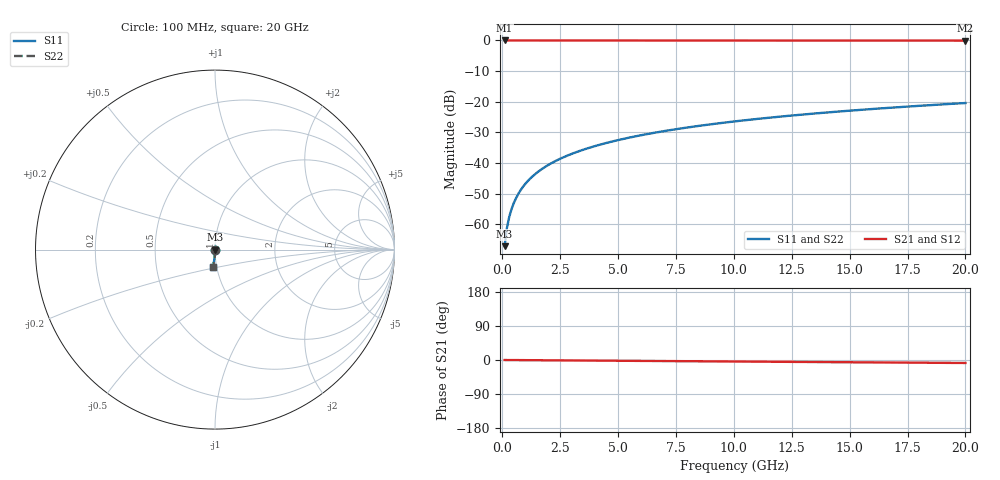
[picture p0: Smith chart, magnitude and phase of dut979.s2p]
! Touchstone file exported from HFSS 2026.1.0
!  File:  C:/ffzhzh/LocalFiles/Ansys_Project_Files/temp_train_TSV_979_1783187977_18472.aedt
!  Generated:  02:00:52 AM Jul  5, 2026
!  Design:  TSV
!  Project:  temp_train_TSV_979_1783187977_18472
! Variables:
!  h_bsmrdl = 2um
!  h_ox = 20um
!  h_rdl = 5um
!  h_sub = 59.66um
!  h_tmrdl = 5um
!  h_tsv = 59.66um
!  h_via = 3um
!  l_bsmrdl = 300um
!  l_sub = 427.76um
!  l_tmrdl = 200um
!  m_sub = 200um
!  pitch = 32.23um
!  r_tsv = 13.88um
!  s_tmrdl = 10um
!  w_bsmrdl = 18um
!  w_sub = 500um
!  w_tmrdl = 12um
!  x_tsv_center1 = 206um
!  x_tsv_center2 = 524um
!  x_tsv_center3 = 736um
!  x_tsv_center4 = 1054um
!  x_tsv_center5 = 1266um
!  x_tsv_center6 = 1584um
# GHz S MA R 50.000000
! Terminal data exported
! Port[1] = TSV1_1_T1
! Port[2] = TSV1_1_T2
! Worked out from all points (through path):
!   200 points, 100 MHz to 20 GHz, reference 50 ohm
!   highest |S21| = 0.00 dB at 100 MHz (marker M1); lowest = 0.0 dB at 20 GHz (marker M2)
!   group delay of S21, straight-line fit = 1.09 ps
!   lowest |S11| = -67.1 dB at 100 MHz (marker M3), VSWR 1.00, Z = 50 - j0.0433 ohm
!   |S11| at or under -10 dB: start of sweep to end of sweep
!   |S22| runs from -67.1 to -20.4 dB; largest |S21 - S12| = 2e-15
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0.1  0.0004399 -79.9  0.9999 -0.0  0.9999 -0.0  0.0004399 -79.9
! Gamma 0 0 0 0
! Port Impedance 50 0 50 0
0.2  0.000876 -84.0  0.9999 -0.1  0.9999 -0.1  0.000876 -84.0
0.3  0.001322 -85.1  0.9999 -0.1  0.9999 -0.1  0.001322 -85.1
0.4  0.001776 -85.6  0.9999 -0.2  0.9999 -0.2  0.001776 -85.6
0.5  0.002238 -85.9  0.9998 -0.2  0.9998 -0.2  0.002238 -85.9
0.7  0.003177 -86.4  0.9998 -0.3  0.9998 -0.3  0.003177 -86.4
0.8  0.003651 -86.7  0.9998 -0.3  0.9998 -0.3  0.003651 -86.7
1  0.004602 -87.1  0.9997 -0.4  0.9997 -0.4  0.004602 -87.1
1.2  0.005555 -87.5  0.9997 -0.5  0.9997 -0.5  0.005555 -87.5
1.4  0.006508 -87.8  0.9997 -0.6  0.9997 -0.6  0.006508 -87.8
1.7  0.007937 -88.3  0.9996 -0.7  0.9996 -0.7  0.007937 -88.3
2  0.009366 -88.6  0.9996 -0.8  0.9996 -0.8  0.009366 -88.6
2.7  0.0127 -89.3  0.9995 -1.1  0.9995 -1.1  0.0127 -89.3
3.5  0.01651 -89.8  0.9994 -1.4  0.9994 -1.4  0.01651 -89.8
4.2  0.01985 -90.2  0.9993 -1.7  0.9993 -1.7  0.01985 -90.2
5  0.02367 -90.7  0.9992 -2.0  0.9992 -2.0  0.02367 -90.7
6.8  0.03229 -91.5  0.9988 -2.7  0.9988 -2.7  0.03229 -91.5
8.3  0.03948 -92.2  0.9985 -3.3  0.9985 -3.3  0.03948 -92.2
10.1  0.0481 -93.0  0.998 -4.0  0.998 -4.0  0.0481 -93.0
13.4  0.06388 -94.5  0.997 -5.3  0.997 -5.3  0.06388 -94.5
16.7  0.0796 -95.8  0.9958 -6.6  0.9958 -6.6  0.0796 -95.8
20  0.09527 -97.2  0.9943 -7.9  0.9943 -7.9  0.09527 -97.2
